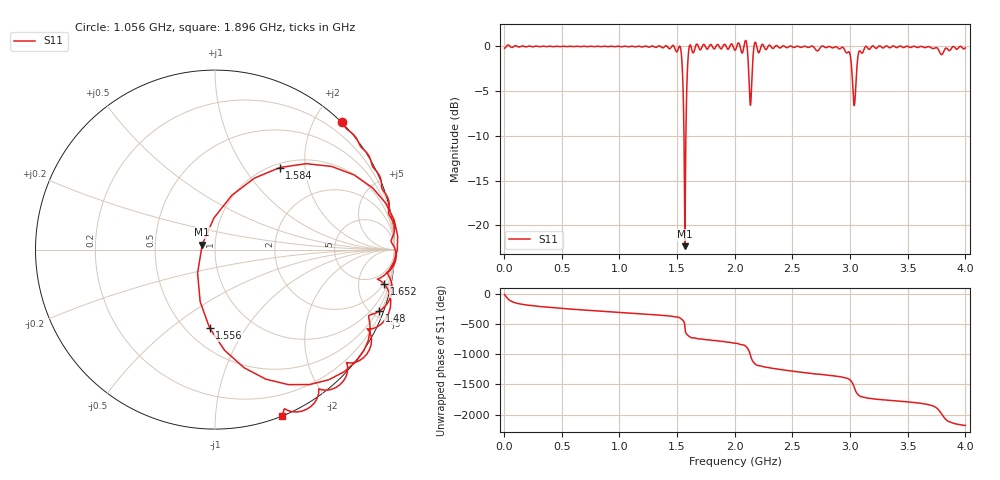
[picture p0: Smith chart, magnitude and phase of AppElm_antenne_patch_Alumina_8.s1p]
! TOUCHSTONE file generated by CST MICROWAVE STUDIO
! Date and time: Thu Jun  9 07:40:01 2022
! Project name: AppElm_antenne_patch_Alumina.cst
! Parameters = {L=30.5; W=45.98; e=0.035; h=1.6; lambda=0.190476; ls=90; w0=1.12; w1=0.373; ws=90; y0=14; y1=10}
! Header version: 2018
! Port assignment regex: !\s*Touchstone port\s*([0-9]+)\s*=\s*(CST MWS port|CST DS port)\s*([0-9]+|Zmin|Zmax)\s*\(\"(.*)\"\)(\s*mode\s*([0-9]+))?.*
! Touchstone port assignment:
! Touchstone port 1 = CST MWS port 1 ("")
# GHz S MA R 50
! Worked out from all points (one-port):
!   1000 points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, 4 MHz to 4 GHz, reference 50 ohm
!   lowest |S11| = -22.3 dB at 1.568 GHz (marker M1), VSWR 1.17, Z = 43.3 + j2.45 ohm
!   |S11| at or under -10 dB: 1.559 GHz to 1.576 GHz (16.53 MHz wide, 1.05 % of centre)
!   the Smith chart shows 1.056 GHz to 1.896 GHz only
!   S11 on the Smith chart (normalised r, x): 1.056 GHz: -0.01, +2.40; 1.48 GHz: 0.37, -5.48; 1.556 GHz: 0.65, -0.70; 1.584 GHz: 1.07, +1.48; 1.652 GHz: 1.90, -9.59; 1.896 GHz: 0.00, -1.48
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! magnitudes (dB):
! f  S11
! 4 MHz  -0.2
! 504 MHz  0.0
! 1.004 GHz  0.0
! 1.056 GHz  0.0
! 1.48 GHz  -0.2
! 1.504 GHz  -0.5
! 1.532 GHz  -0.3
! 1.54 GHz  -1.3
! 1.556 GHz  -7.2
! 1.568 GHz  -22.3
! 1.584 GHz  -4.7
! 1.596 GHz  -1.1
! 1.604 GHz  -0.1
! 1.652 GHz  -0.3
! 1.896 GHz  0.0
! 2.004 GHz  -0.4
! 2.096 GHz  0.7
! 2.136 GHz  -6.6
! 2.18 GHz  0.5
! 2.504 GHz  -0.1
! 2.932 GHz  -0.1
! 3.004 GHz  -1.2
! 3.036 GHz  -6.6
! 3.08 GHz  -0.5
! 3.132 GHz  0.0
! 3.504 GHz  0.0
! 3.792 GHz  -0.9
! 4 GHz  -0.2
